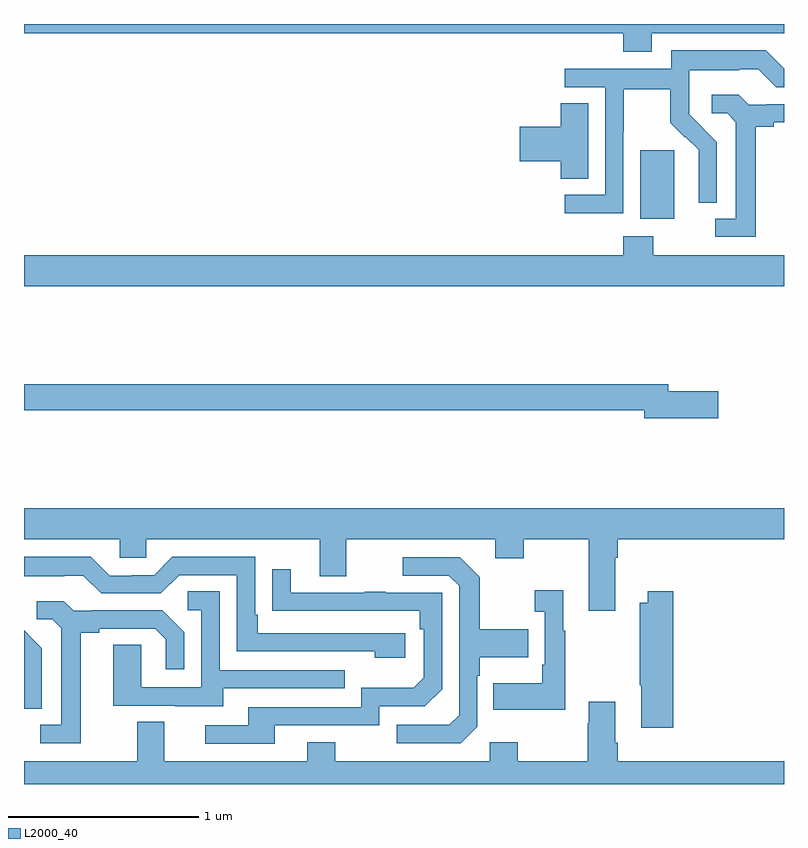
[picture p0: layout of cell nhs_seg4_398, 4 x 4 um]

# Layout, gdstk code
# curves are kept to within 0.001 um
import gdstk
lib = gdstk.Library(unit=1e-6, precision=1e-09)
def R(c, l, rs):  # rectangles x0, y0, x1, y1
    for r in rs: c.add(gdstk.rectangle(r[:2], r[2:], *l))
def P(c, l, *ps):  # polygons
    for p in ps: c.add(gdstk.Polygon(p, *l))
L2000_40 = (2000, 40)

nhs_seg4_398 = lib.new_cell('nhs_seg4_398')
R(nhs_seg4_398, L2000_40, [(134.243,763.874,134.422,764.235)])
P(nhs_seg4_398, L2000_40, [(134.305,764.852),(135,764.852),(135,764.9),(131,764.9),(131,764.852),(134.153,764.852),(134.153,764.753),(134.305,764.753)],
  [(134.154,764.332),(134.157,764.332),(134.157,764.556),(134.401,764.556),(134.401,764.381),(134.478,764.304),(134.481,764.307),(134.552,764.237),(134.552,764.114),(134.55,764.114),(134.55,763.96),(134.646,763.96),(134.646,764.278),(134.5,764.426),(134.5,764.523),(134.502,764.523),(134.502,764.657),(134.765,764.657),(134.765,764.661),(134.865,764.661),(134.958,764.568),(135,764.568),(135,764.664),(134.903,764.761),(134.406,764.761),(134.406,764.664),(133.845,764.664),(133.845,764.568),(134.058,764.568),(134.058,764.001),(133.845,764.001),(133.845,763.903),(134.154,763.903)],
  [(134.851,764.36),(134.947,764.36),(134.947,764.382),(135,764.382),(135,764.478),(134.908,764.478),(134.908,764.475),(134.814,764.475),(134.762,764.527),(134.619,764.527),(134.619,764.43),(134.7,764.43),(134.747,764.383),(134.747,763.875),(134.637,763.875),(134.637,763.779),(134.851,763.779)],
  [(133.969,764.483),(133.826,764.483),(133.826,764.36),(133.608,764.36),(133.608,764.177),(133.826,764.177),(133.826,764.086),(133.969,764.086)],
  [(135,763.684),(134.313,763.684),(134.313,763.783),(134.153,763.783),(134.153,763.684),(131,763.684),(131,763.52),(135,763.52)],
  [(134.653,762.968),(134.392,762.968),(134.392,763.004),(131,763.004),(131,762.868),(134.264,762.868),(134.264,762.826),(134.653,762.826)],
  [(134.113,762.092),(134.126,762.092),(134.126,762.188),(135,762.188),(135,762.352),(131,762.352),(131,762.188),(131.505,762.188),(131.505,762.09),(131.643,762.09),(131.643,762.188),(132.557,762.188),(132.557,761.994),(132.697,761.994),(132.697,762.188),(133.481,762.188),(133.481,762.089),(133.629,762.089),(133.629,762.188),(133.973,762.188),(133.973,761.811),(134.113,761.811)],
  [(133.006,761.694),(132.229,761.694),(132.229,761.791),(132.216,761.791),(132.216,762.096),(131.781,762.096),(131.685,762),(131.567,762),(131.567,761.997),(131.451,761.997),(131.351,762.097),(131,762.097),(131,761.993),(131.213,761.993),(131.213,761.997),(131.313,761.997),(131.406,761.904),(131.721,761.904),(131.817,762),(132.12,762),(132.12,761.598),(132.845,761.598),(132.845,761.564),(133.006,761.564)],
  [(133.386,761.202),(133.386,761.471),(133.399,761.471),(133.399,761.567),(133.655,761.567),(133.655,761.715),(133.399,761.715),(133.399,761.987),(133.293,762.093),(132.993,762.093),(132.993,761.997),(133.236,761.997),(133.29,761.943),(133.29,761.262),(133.239,761.211),(132.963,761.211),(132.963,761.115),(133.299,761.115)],
  [(132.319,761.208),(132.87,761.208),(132.87,761.31),(133.11,761.31),(133.2,761.4),(133.2,761.907),(132.905,761.907),(132.905,761.912),(132.793,761.912),(132.793,761.907),(132.403,761.907),(132.403,762.031),(132.307,762.031),(132.307,761.812),(133.084,761.811),(133.084,761.714),(133.104,761.714),(133.104,761.46),(133.051,761.407),(132.774,761.407),(132.774,761.304),(132.179,761.304),(132.179,761.208),(131.955,761.208),(131.955,761.112),(132.319,761.112)],
  [(133.849,761.707),(133.837,761.707),(133.837,761.92),(133.689,761.92),(133.689,761.807),(133.74,761.807),(133.74,761.527),(133.728,761.527),(133.728,761.431),(133.471,761.431),(133.471,761.291),(133.849,761.291)],
  [(132.049,761.403),(132.689,761.403),(132.689,761.499),(132.03,761.499),(132.03,761.915),(131.862,761.915),(131.862,761.814),(131.934,761.814),(131.934,761.409),(131.616,761.409),(131.616,761.633),(131.471,761.633),(131.471,761.313),(131.795,761.313),(131.795,761.309),(132.049,761.309)],
  [(134.417,761.914),(134.282,761.914),(134.282,761.854),(134.242,761.854),(134.242,761.419),(134.249,761.419),(134.249,761.196),(134.417,761.196)],
  [(131.299,761.696),(131.395,761.696),(131.395,761.718),(131.69,761.718),(131.747,761.661),(131.747,761.505),(131.844,761.505),(131.844,761.698),(131.728,761.814),(131.356,761.814),(131.356,761.811),(131.262,761.811),(131.21,761.863),(131.067,761.863),(131.067,761.766),(131.148,761.766),(131.195,761.719),(131.195,761.211),(131.085,761.211),(131.085,761.115),(131.299,761.115)],
  [(131.094,761.614),(131.021,761.687),(131.022,761.688),(131,761.71),(131,761.296),(131.094,761.296)],
  [(135,761.02),(134.126,761.02),(134.126,761.116),(134.113,761.116),(134.113,761.332),(133.973,761.332),(133.973,761.219),(133.966,761.219),(133.966,761.02),(133.599,761.02),(133.599,761.119),(133.452,761.119),(133.452,761.02),(132.639,761.02),(132.639,761.119),(132.491,761.119),(132.491,761.02),(131.737,761.02),(131.737,761.228),(131.597,761.228),(131.597,761.02),(131,761.02),(131,760.9),(135,760.9)])

lib.write_gds('nhs_seg4_398.gds')
